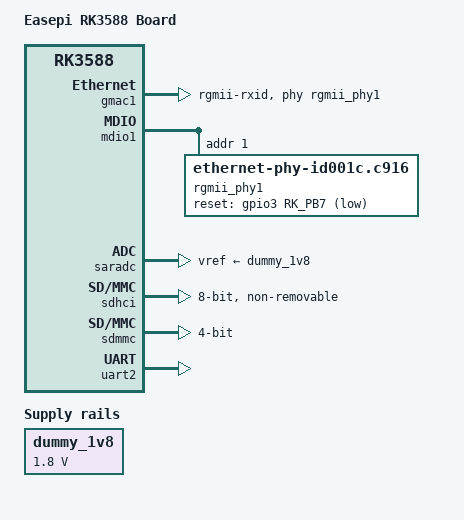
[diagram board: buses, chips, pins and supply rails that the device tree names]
// SPDX-License-Identifier: (GPL-2.0+ OR MIT)

/dts-v1/;

#include <dt-bindings/pinctrl/rockchip.h>
#include <dt-bindings/gpio/gpio.h>
#include "rk3588s.dtsi"

/ {
	model = "Easepi RK3588 Board";
	compatible = "linkease,rk3588-demo", "rockchip,rk3588";

	aliases {
		ethernet0 = &gmac1;
		mmc0 = &sdhci;
		mmc1 = &sdmmc;
	};

	chosen {
		stdout-path = "serial2:1500000n8";
	};

	dummy_1v8: vcc-dummy-1v8-regulator {
		compatible = "regulator-fixed";
		regulator-always-on;
		regulator-boot-on;
		regulator-min-microvolt = <1800000>;
		regulator-max-microvolt = <1800000>;
		regulator-name = "dummy_1v8";
	};
};

&gmac1 {
	clock_in_out = "output";
	phy-handle = <&rgmii_phy1>;
	phy-mode = "rgmii-rxid";
	pinctrl-0 = <&gmac1_miim
		     &gmac1_tx_bus2
		     &gmac1_rx_bus2
		     &gmac1_rgmii_clk
		     &gmac1_rgmii_bus>;
	pinctrl-names = "default";
	tx_delay = <0x42>;
	status = "okay";
};

&mdio1 {
	rgmii_phy1: ethernet-phy@1 {
		compatible = "ethernet-phy-id001c.c916";
		reg = <0x1>;
		pinctrl-names = "default";
		pinctrl-0 = <&rtl8211f_rst>;
		reset-assert-us = <20000>;
		reset-deassert-us = <100000>;
		reset-gpios = <&gpio3 RK_PB7 GPIO_ACTIVE_LOW>;
	};
};

&pinctrl {
	rtl8211f {
		rtl8211f_rst: rtl8211f-rst {
			rockchip,pins = <3 RK_PB7 RK_FUNC_GPIO &pcfg_pull_none>;
		};
	};
};

&saradc {
	vref-supply = <&dummy_1v8>;
	status = "okay";
};

&sdhci {
	bus-width = <8>;
	cap-mmc-highspeed;
	mmc-hs200-1_8v;
	no-sd;
	no-sdio;
	non-removable;
	status = "okay";
};

&sdmmc {
	bus-width = <4>;
	cap-sd-highspeed;
	disable-wp;
	no-mmc;
	no-sdio;
	status = "okay";
};

&uart2 {
	pinctrl-0 = <&uart2m0_xfer>;
	status = "okay";
};
